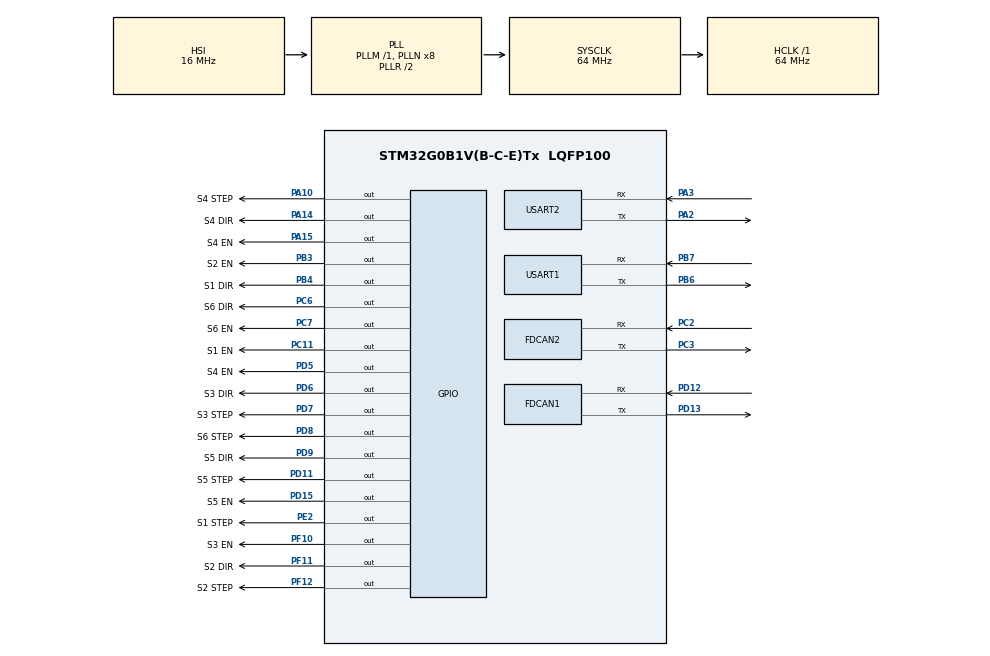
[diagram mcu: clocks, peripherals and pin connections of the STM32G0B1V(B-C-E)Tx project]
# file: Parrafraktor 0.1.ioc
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FDCAN1.CalculateBaudRateNominal=800000
FDCAN1.CalculateTimeBitNominal=1250
FDCAN1.CalculateTimeQuantumNominal=250.0
FDCAN2.CalculateBaudRateNominal=1000000
FDCAN2.CalculateTimeBitNominal=1000
FDCAN2.CalculateTimeQuantumNominal=125.0
FDCAN2.NominalPrescaler=8
FDCAN2.NominalTimeSeg1=5
Mcu.Family=STM32G0
Mcu.Name=STM32G0B1V(B-C-E)Tx
Mcu.Package=LQFP100
PA10.GPIO_Label=S4 STEP
PA10.Signal=GPIO_Output
PA14-BOOT0.GPIO_Label=S4 DIR
PA14-BOOT0.Signal=GPIO_Output
PA15.GPIO_Label=S4 EN
PA15.Signal=GPIO_Output
PA2.Mode=Asynchronous
PA2.Signal=USART2_TX
PA3.Mode=Asynchronous
PA3.Signal=USART2_RX
PB3.GPIO_Label=S2 EN
PB3.Signal=GPIO_Output
PB4.GPIO_Label=S1 DIR
PB4.Signal=GPIO_Output
PB6.Mode=Asynchronous
PB6.Signal=USART1_TX
PB7.Mode=Asynchronous
PB7.Signal=USART1_RX
PC11.GPIO_Label=S1 EN
PC11.Signal=GPIO_Output
PC14-OSC32_IN\ (PC14).Mode=LSE-External-Oscillator
PC14-OSC32_IN\ (PC14).Signal=RCC_OSC32_IN
PC15-OSC32_OUT\ (PC15).Mode=LSE-External-Oscillator
PC15-OSC32_OUT\ (PC15).Signal=RCC_OSC32_OUT
PC2.Mode=FDCAN_Activate
PC2.Signal=FDCAN2_RX
PC3.Mode=FDCAN_Activate
PC3.Signal=FDCAN2_TX
PC6.GPIO_Label=S6 DIR
PC6.Signal=GPIO_Output
PC7.GPIO_Label=S6 EN
PC7.Signal=GPIO_Output
PD11.GPIO_Label=S5 STEP
PD11.Signal=GPIO_Output
PD12.Mode=FDCAN_Activate
PD12.Signal=FDCAN1_RX
PD13.Mode=FDCAN_Activate
PD13.Signal=FDCAN1_TX
PD15.GPIO_Label=S5 EN
PD15.Signal=GPIO_Output
PD5.GPIO_Label=S4 EN
PD5.Signal=GPIO_Output
PD6.GPIO_Label=S3 DIR
PD6.Signal=GPIO_Output
PD7.GPIO_Label=S3 STEP
PD7.Signal=GPIO_Output
PD8.GPIO_Label=S6 STEP
PD8.Signal=GPIO_Output
PD9.GPIO_Label=S5 DIR
PD9.Signal=GPIO_Output
PE2.GPIO_Label=S1 STEP
PE2.Signal=GPIO_Output
PF0-OSC_IN\ (PF0).Mode=HSE-External-Oscillator
PF0-OSC_IN\ (PF0).Signal=RCC_OSC_IN
PF1-OSC_OUT\ (PF1).Mode=HSE-External-Oscillator
PF1-OSC_OUT\ (PF1).Signal=RCC_OSC_OUT
PF10.GPIO_Label=S3 EN
PF10.Signal=GPIO_Output
PF11.GPIO_Label=S2 DIR
PF11.Signal=GPIO_Output
PF12.GPIO_Label=S2 STEP
PF12.Signal=GPIO_Output
ProjectManager.HeapSize=0x200
ProjectManager.StackSize=0x400
ProjectManager.TargetToolchain=STM32CubeIDE
RCC.ADCFreq_Value=64000000
RCC.AHBFreq_Value=64000000
RCC.CortexFreq_Value=64000000
RCC.EXTERNAL_CLOCK_VALUE=48000
RCC.HCLKFreq_Value=64000000
RCC.HSE_VALUE=8000000
RCC.HSI48_VALUE=48000000
RCC.HSI_VALUE=16000000
RCC.SYSCLKFreq_VALUE=64000000
RCC.SYSCLKSource=RCC_SYSCLKSOURCE_PLLCLK
RCC.USBFreq_Value=48000000
RCC.VCOOutputFreq_Value=128000000
USART1.VirtualMode-Asynchronous=VM_ASYNC
USART2.VirtualMode-Asynchronous=VM_ASYNC
VP_SYS_VS_DBSignals.Mode=DisableDeadBatterySignals
VP_TIM1_VS_ClockSourceINT.Mode=Internal
board=custom

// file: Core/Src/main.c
/* USER CODE BEGIN Header */
/**
  ******************************************************************************
  * @file           : main.c
  * @brief          : Main program body
  ******************************************************************************
  * @attention
  *
  * Copyright (c) 2024 STMicroelectronics.
  * All rights reserved.
  *
  * This software is licensed under terms that can be found in the LICENSE file
  * in the root directory of this software component.
  * If no LICENSE file comes with this software, it is provided AS-IS.
  *
  ******************************************************************************
  */
/* USER CODE END Header */
#include "main.h"

/* USER CODE BEGIN Includes */
#include "stepper.h"
#include "TMC2209-UART.h"
#include "TMC2209_UNIT.h"
#include "TMC2209_REG.h"
/* USER CODE END Includes */

FDCAN_HandleTypeDef hfdcan1;
FDCAN_HandleTypeDef hfdcan2;

TIM_HandleTypeDef htim1;

UART_HandleTypeDef huart1;
UART_HandleTypeDef huart2;

void SystemClock_Config(void);
static void MX_GPIO_Init(void);
static void MX_TIM1_Init(void);
static void MX_USART1_UART_Init(void);
static void MX_USART2_UART_Init(void);
static void MX_FDCAN1_Init(void);
static void MX_FDCAN2_Init(void);

/* USER CODE BEGIN 0 */

#define NUM_STEPPERS 6

// Configuration variables
float min_interval_us = 1.855;
float max_interval_us = 185.5;
float max_acceleration = 1.0;
uint16_t microsteps = 16;

uint32_t stealthchop_threshold = 99999;
float current = 1.2;
bool recalculation = true;
float jerk_control = 1.0;

// Arrays to hold the port and pin configurations
GPIO_TypeDef* step_ports[NUM_STEPPERS] = {S1_STEP_GPIO_Port, GPIOF, GPIOD, GPIOD, GPIOD, GPIOD};
uint16_t step_pins[NUM_STEPPERS] = {S1_STEP_Pin, S2_STEP_Pin, S3_STEP_Pin, S4_STEP_Pin, S5_STEP_Pin, S6_STEP_Pin};

GPIO_TypeDef* dir_ports[NUM_STEPPERS] = {GPIOB, GPIOB, GPIOD, GPIOD, GPIOC, GPIOD};
uint16_t dir_pins[NUM_STEPPERS] = {S1_DIR_Pin, S2_DIR_Pin, S3_DIR_Pin, S4_DIR_Pin, S5_DIR_Pin, S6_DIR_Pin};

GPIO_TypeDef* en_ports[NUM_STEPPERS] = {GPIOC, GPIOB, GPIOF, GPIOD, GPIOD, GPIOD};
uint16_t en_pins[NUM_STEPPERS] = {S1_EN_Pin, S2_EN_Pin, S3_EN_Pin, S4_EN_Pin, S5_EN_Pin, S6_EN_Pin};

// Define the StepperMotor structure
typedef struct {
    GPIO_TypeDef* DIR_Port;
    uint16_t DIR_Pin;
    GPIO_TypeDef* STEP_Port;
    uint16_t STEP_Pin;
    GPIO_TypeDef* EN_Port;
    uint16_t EN_Pin;
    float min_interval_us;
    float max_interval_us;
    float max_acceleration;
    uint16_t microsteps;
    uint16_t steps_per_revolution;
    uint32_t stealthchop_threshold;
    float current;
    bool recalculation;
    float jerk_control;
} StepperMotor;

StepperMotor steppers[NUM_STEPPERS];

/* USER CODE END 0 */

int main(void)
{

  /* MCU Configuration--------------------------------------------------------*/

  /* Reset of all peripherals, Initializes the Flash interface and the Systick. */
  HAL_Init();

  /* Configure the system clock */
  SystemClock_Config();

  /* Initialize all configured peripherals */
  MX_GPIO_Init();
  MX_TIM1_Init();
  MX_USART1_UART_Init();
  MX_USART2_UART_Init();
  MX_FDCAN1_Init();
  MX_FDCAN2_Init();

  /* Infinite loop */
  while (1)
  {

  }
}

void SystemClock_Config(void)
{
  RCC_OscInitTypeDef RCC_OscInitStruct = {0};
  RCC_ClkInitTypeDef RCC_ClkInitStruct = {0};

  /** Configure the main internal regulator output voltage
  */
  HAL_PWREx_ControlVoltageScaling(PWR_REGULATOR_VOLTAGE_SCALE1);

  /** Initializes the RCC Oscillators according to the specified parameters
  * in the RCC_OscInitTypeDef structure.
  */
  RCC_OscInitStruct.OscillatorType = RCC_OSCILLATORTYPE_HSI;
  RCC_OscInitStruct.HSIState = RCC_HSI_ON;
  RCC_OscInitStruct.HSIDiv = RCC_HSI_DIV1;
  RCC_OscInitStruct.HSICalibrationValue = RCC_HSICALIBRATION_DEFAULT;
  RCC_OscInitStruct.PLL.PLLState = RCC_PLL_ON;
  RCC_OscInitStruct.PLL.PLLSource = RCC_PLLSOURCE_HSI;
  RCC_OscInitStruct.PLL.PLLM = RCC_PLLM_DIV1;
  RCC_OscInitStruct.PLL.PLLN = 8;
  RCC_OscInitStruct.PLL.PLLP = RCC_PLLP_DIV2;
  RCC_OscInitStruct.PLL.PLLQ = RCC_PLLQ_DIV2;
  RCC_OscInitStruct.PLL.PLLR = RCC_PLLR_DIV2;
  if (HAL_RCC_OscConfig(&RCC_OscInitStruct) != HAL_OK)
  {
    Error_Handler();
  }

  /** Initializes the CPU, AHB and APB buses clocks
  */
  RCC_ClkInitStruct.ClockType = RCC_CLOCKTYPE_HCLK|RCC_CLOCKTYPE_SYSCLK
                              |RCC_CLOCKTYPE_PCLK1;
  RCC_ClkInitStruct.SYSCLKSource = RCC_SYSCLKSOURCE_PLLCLK;
  RCC_ClkInitStruct.AHBCLKDivider = RCC_SYSCLK_DIV1;
  RCC_ClkInitStruct.APB1CLKDivider = RCC_HCLK_DIV1;

  if (HAL_RCC_ClockConfig(&RCC_ClkInitStruct, FLASH_LATENCY_2) != HAL_OK)
  {
    Error_Handler();
  }
}

static void MX_FDCAN1_Init(void)
{

  hfdcan1.Instance = FDCAN1;
  hfdcan1.Init.ClockDivider = FDCAN_CLOCK_DIV1;
  hfdcan1.Init.FrameFormat = FDCAN_FRAME_CLASSIC;
  hfdcan1.Init.Mode = FDCAN_MODE_NORMAL;
  hfdcan1.Init.AutoRetransmission = DISABLE;
  hfdcan1.Init.TransmitPause = DISABLE;
  hfdcan1.Init.ProtocolException = DISABLE;
  hfdcan1.Init.NominalPrescaler = 16;
  hfdcan1.Init.NominalSyncJumpWidth = 1;
  hfdcan1.Init.NominalTimeSeg1 = 2;
  hfdcan1.Init.NominalTimeSeg2 = 2;
  hfdcan1.Init.DataPrescaler = 1;
  hfdcan1.Init.DataSyncJumpWidth = 1;
  hfdcan1.Init.DataTimeSeg1 = 1;
  hfdcan1.Init.DataTimeSeg2 = 1;
  hfdcan1.Init.StdFiltersNbr = 0;
  hfdcan1.Init.ExtFiltersNbr = 0;
  hfdcan1.Init.TxFifoQueueMode = FDCAN_TX_FIFO_OPERATION;
  if (HAL_FDCAN_Init(&hfdcan1) != HAL_OK)
  {
    Error_Handler();
  }

}

static void MX_FDCAN2_Init(void)
{

  hfdcan2.Instance = FDCAN2;
  hfdcan2.Init.ClockDivider = FDCAN_CLOCK_DIV1;
  hfdcan2.Init.FrameFormat = FDCAN_FRAME_CLASSIC;
  hfdcan2.Init.Mode = FDCAN_MODE_NORMAL;
  hfdcan2.Init.AutoRetransmission = DISABLE;
  hfdcan2.Init.TransmitPause = DISABLE;
  hfdcan2.Init.ProtocolException = DISABLE;
  hfdcan2.Init.NominalPrescaler = 8;
  hfdcan2.Init.NominalSyncJumpWidth = 1;
  hfdcan2.Init.NominalTimeSeg1 = 5;
  hfdcan2.Init.NominalTimeSeg2 = 2;
  hfdcan2.Init.DataPrescaler = 1;
  hfdcan2.Init.DataSyncJumpWidth = 1;
  hfdcan2.Init.DataTimeSeg1 = 1;
  hfdcan2.Init.DataTimeSeg2 = 1;
  hfdcan2.Init.StdFiltersNbr = 0;
  hfdcan2.Init.ExtFiltersNbr = 0;
  hfdcan2.Init.TxFifoQueueMode = FDCAN_TX_FIFO_OPERATION;
  if (HAL_FDCAN_Init(&hfdcan2) != HAL_OK)
  {
    Error_Handler();
  }

}

static void MX_TIM1_Init(void)
{

  TIM_ClockConfigTypeDef sClockSourceConfig = {0};
  TIM_MasterConfigTypeDef sMasterConfig = {0};

  htim1.Instance = TIM1;
  htim1.Init.Prescaler = 0;
  htim1.Init.CounterMode = TIM_COUNTERMODE_UP;
  htim1.Init.Period = 65535;
  htim1.Init.ClockDivision = TIM_CLOCKDIVISION_DIV1;
  htim1.Init.RepetitionCounter = 0;
  htim1.Init.AutoReloadPreload = TIM_AUTORELOAD_PRELOAD_DISABLE;
  if (HAL_TIM_Base_Init(&htim1) != HAL_OK)
  {
    Error_Handler();
  }
  sClockSourceConfig.ClockSource = TIM_CLOCKSOURCE_INTERNAL;
  if (HAL_TIM_ConfigClockSource(&htim1, &sClockSourceConfig) != HAL_OK)
  {
    Error_Handler();
  }
  sMasterConfig.MasterOutputTrigger = TIM_TRGO_RESET;
  sMasterConfig.MasterOutputTrigger2 = TIM_TRGO2_RESET;
  sMasterConfig.MasterSlaveMode = TIM_MASTERSLAVEMODE_DISABLE;
  if (HAL_TIMEx_MasterConfigSynchronization(&htim1, &sMasterConfig) != HAL_OK)
  {
    Error_Handler();
  }

}

static void MX_USART1_UART_Init(void)
{

  huart1.Instance = USART1;
  huart1.Init.BaudRate = 115200;
  huart1.Init.WordLength = UART_WORDLENGTH_8B;
  huart1.Init.StopBits = UART_STOPBITS_1;
  huart1.Init.Parity = UART_PARITY_NONE;
  huart1.Init.Mode = UART_MODE_TX_RX;
  huart1.Init.HwFlowCtl = UART_HWCONTROL_NONE;
  huart1.Init.OverSampling = UART_OVERSAMPLING_16;
  huart1.Init.OneBitSampling = UART_ONE_BIT_SAMPLE_DISABLE;
  huart1.Init.ClockPrescaler = UART_PRESCALER_DIV1;
  huart1.AdvancedInit.AdvFeatureInit = UART_ADVFEATURE_NO_INIT;
  if (HAL_UART_Init(&huart1) != HAL_OK)
  {
    Error_Handler();
  }
  if (HAL_UARTEx_SetTxFifoThreshold(&huart1, UART_TXFIFO_THRESHOLD_1_8) != HAL_OK)
  {
    Error_Handler();
  }
  if (HAL_UARTEx_SetRxFifoThreshold(&huart1, UART_RXFIFO_THRESHOLD_1_8) != HAL_OK)
  {
    Error_Handler();
  }
  if (HAL_UARTEx_DisableFifoMode(&huart1) != HAL_OK)
  {
    Error_Handler();
  }

}

static void MX_USART2_UART_Init(void)
{

  huart2.Instance = USART2;
  huart2.Init.BaudRate = 115200;
  huart2.Init.WordLength = UART_WORDLENGTH_8B;
  huart2.Init.StopBits = UART_STOPBITS_1;
  huart2.Init.Parity = UART_PARITY_NONE;
  huart2.Init.Mode = UART_MODE_TX_RX;
  huart2.Init.HwFlowCtl = UART_HWCONTROL_NONE;
  huart2.Init.OverSampling = UART_OVERSAMPLING_16;
  huart2.Init.OneBitSampling = UART_ONE_BIT_SAMPLE_DISABLE;
  huart2.Init.ClockPrescaler = UART_PRESCALER_DIV1;
  huart2.AdvancedInit.AdvFeatureInit = UART_ADVFEATURE_NO_INIT;
  if (HAL_UART_Init(&huart2) != HAL_OK)
  {
    Error_Handler();
  }
  if (HAL_UARTEx_SetTxFifoThreshold(&huart2, UART_TXFIFO_THRESHOLD_1_8) != HAL_OK)
  {
    Error_Handler();
  }
  if (HAL_UARTEx_SetRxFifoThreshold(&huart2, UART_RXFIFO_THRESHOLD_1_8) != HAL_OK)
  {
    Error_Handler();
  }
  if (HAL_UARTEx_DisableFifoMode(&huart2) != HAL_OK)
  {
    Error_Handler();
  }

}

static void MX_GPIO_Init(void)
{
  GPIO_InitTypeDef GPIO_InitStruct = {0};

  /* GPIO Ports Clock Enable */
  __HAL_RCC_GPIOC_CLK_ENABLE();
  __HAL_RCC_GPIOF_CLK_ENABLE();
  __HAL_RCC_GPIOA_CLK_ENABLE();
  __HAL_RCC_GPIOD_CLK_ENABLE();
  __HAL_RCC_GPIOB_CLK_ENABLE();
  __HAL_RCC_GPIOE_CLK_ENABLE();

  /*Configure GPIO pin Output Level */
  HAL_GPIO_WritePin(GPIOC, S1_EN_Pin|S6_DIR_Pin|S6_EN_Pin, GPIO_PIN_RESET);

  /*Configure GPIO pin Output Level */
  HAL_GPIO_WritePin(GPIOD, S6_STEP_Pin|S5_DIR_Pin|S5_STEP_Pin|S5_EN_Pin
                          |S4_END5_Pin|S3_DIR_Pin|S3_STEP_Pin, GPIO_PIN_RESET);

  /*Configure GPIO pin Output Level */
  HAL_GPIO_WritePin(GPIOA, S4_STEP_Pin|S4_DIR_Pin|S4_EN_Pin, GPIO_PIN_RESET);

  /*Configure GPIO pin Output Level */
  HAL_GPIO_WritePin(GPIOF, S3_EN_Pin|S2_DIR_Pin|S2_STEP_Pin, GPIO_PIN_RESET);

  /*Configure GPIO pin Output Level */
  HAL_GPIO_WritePin(GPIOB, S2_EN_Pin|S1_DIR_Pin, GPIO_PIN_RESET);

  /*Configure GPIO pin Output Level */
  HAL_GPIO_WritePin(S1_STEP_GPIO_Port, S1_STEP_Pin, GPIO_PIN_RESET);

  /*Configure GPIO pins : S1_EN_Pin S6_DIR_Pin S6_EN_Pin */
  GPIO_InitStruct.Pin = S1_EN_Pin|S6_DIR_Pin|S6_EN_Pin;
  GPIO_InitStruct.Mode = GPIO_MODE_OUTPUT_PP;
  GPIO_InitStruct.Pull = GPIO_NOPULL;
  GPIO_InitStruct.Speed = GPIO_SPEED_FREQ_LOW;
  HAL_GPIO_Init(GPIOC, &GPIO_InitStruct);

  /*Configure GPIO pins : S6_STEP_Pin S5_DIR_Pin S5_STEP_Pin S5_EN_Pin
                           S4_END5_Pin S3_DIR_Pin S3_STEP_Pin */
  GPIO_InitStruct.Pin = S6_STEP_Pin|S5_DIR_Pin|S5_STEP_Pin|S5_EN_Pin
                          |S4_END5_Pin|S3_DIR_Pin|S3_STEP_Pin;
  GPIO_InitStruct.Mode = GPIO_MODE_OUTPUT_PP;
  GPIO_InitStruct.Pull = GPIO_NOPULL;
  GPIO_InitStruct.Speed = GPIO_SPEED_FREQ_LOW;
  HAL_GPIO_Init(GPIOD, &GPIO_InitStruct);

  /*Configure GPIO pins : S4_STEP_Pin S4_DIR_Pin S4_EN_Pin */
  GPIO_InitStruct.Pin = S4_STEP_Pin|S4_DIR_Pin|S4_EN_Pin;
  GPIO_InitStruct.Mode = GPIO_MODE_OUTPUT_PP;
  GPIO_InitStruct.Pull = GPIO_NOPULL;
  GPIO_InitStruct.Speed = GPIO_SPEED_FREQ_LOW;
  HAL_GPIO_Init(GPIOA, &GPIO_InitStruct);

  /*Configure GPIO pins : S3_EN_Pin S2_DIR_Pin S2_STEP_Pin */
  GPIO_InitStruct.Pin = S3_EN_Pin|S2_DIR_Pin|S2_STEP_Pin;
  GPIO_InitStruct.Mode = GPIO_MODE_OUTPUT_PP;
  GPIO_InitStruct.Pull = GPIO_NOPULL;
  GPIO_InitStruct.Speed = GPIO_SPEED_FREQ_LOW;
  HAL_GPIO_Init(GPIOF, &GPIO_InitStruct);

  /*Configure GPIO pins : S2_EN_Pin S1_DIR_Pin */
  GPIO_InitStruct.Pin = S2_EN_Pin|S1_DIR_Pin;
  GPIO_InitStruct.Mode = GPIO_MODE_OUTPUT_PP;
  GPIO_InitStruct.Pull = GPIO_NOPULL;
  GPIO_InitStruct.Speed = GPIO_SPEED_FREQ_LOW;
  HAL_GPIO_Init(GPIOB, &GPIO_InitStruct);

  /*Configure GPIO pin : S1_STEP_Pin */
  GPIO_InitStruct.Pin = S1_STEP_Pin;
  GPIO_InitStruct.Mode = GPIO_MODE_OUTPUT_PP;
  GPIO_InitStruct.Pull = GPIO_NOPULL;
  GPIO_InitStruct.Speed = GPIO_SPEED_FREQ_LOW;
  HAL_GPIO_Init(S1_STEP_GPIO_Port, &GPIO_InitStruct);

}

void Error_Handler(void)
{
  __disable_irq();
  while (1)
  {
  }
}
